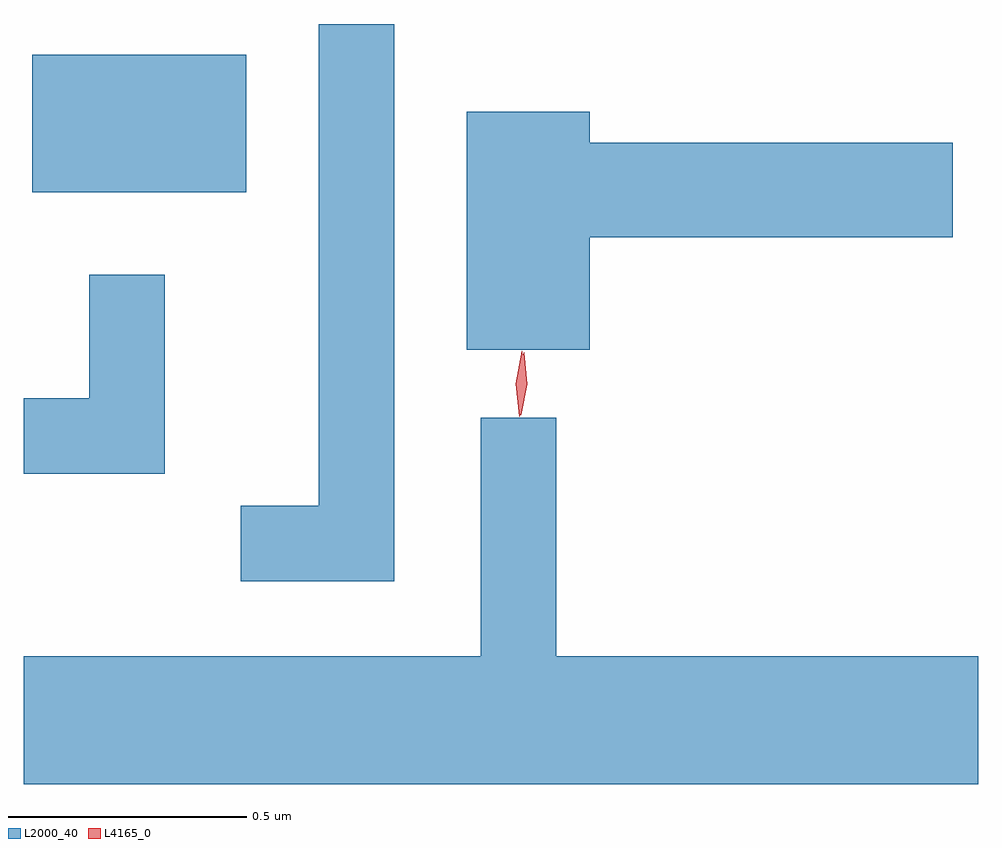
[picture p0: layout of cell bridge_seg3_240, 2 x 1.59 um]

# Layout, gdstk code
import gdstk
lib = gdstk.Library(unit=1e-6, precision=1e-09)
def R(c, l, rs):  # rectangles x0, y0, x1, y1
    for r in rs: c.add(gdstk.rectangle(r[:2], r[2:], *l))
def P(c, l, *ps):  # polygons
    for p in ps: c.add(gdstk.Polygon(p, *l))
L2000_40 = (2000, 40)
L4165_0 = (4165, 0)

bridge_seg3_240 = lib.new_cell('bridge_seg3_240')
R(bridge_seg3_240, L2000_40, [(985.786,1133.916,986.234,1134.204)])
P(bridge_seg3_240, L2000_40, [(986.544,1134.268),(986.386,1134.268),(986.386,1133.259),(986.223,1133.259),(986.223,1133.101),(986.544,1133.101)],
  [(986.954,1133.821),(987.714,1133.821),(987.714,1134.019),(986.954,1134.019),(986.954,1134.084),(986.696,1134.084),(986.696,1133.586),(986.954,1133.586)],
  [(986.064,1133.743),(985.906,1133.743),(985.906,1133.484),(985.768,1133.484),(985.768,1133.326),(986.064,1133.326)],
  [(987.768,1132.944),(986.884,1132.944),(986.884,1133.443),(986.726,1133.443),(986.726,1132.944),(985.768,1132.944),(985.768,1132.676),(987.768,1132.676)])
P(bridge_seg3_240, L4165_0, [(986.809,1133.448),(986.808,1133.449),(986.803,1133.514),(986.816,1133.579),(986.817,1133.58),(986.817,1133.579),(986.823,1133.513),(986.81,1133.449)],
  [(986.806,1133.445),(986.806,1133.446),(986.799,1133.514),(986.811,1133.582),(986.811,1133.582),(986.812,1133.582),(986.819,1133.513),(986.807,1133.446)])

lib.write_gds('bridge_seg3_240.gds')
